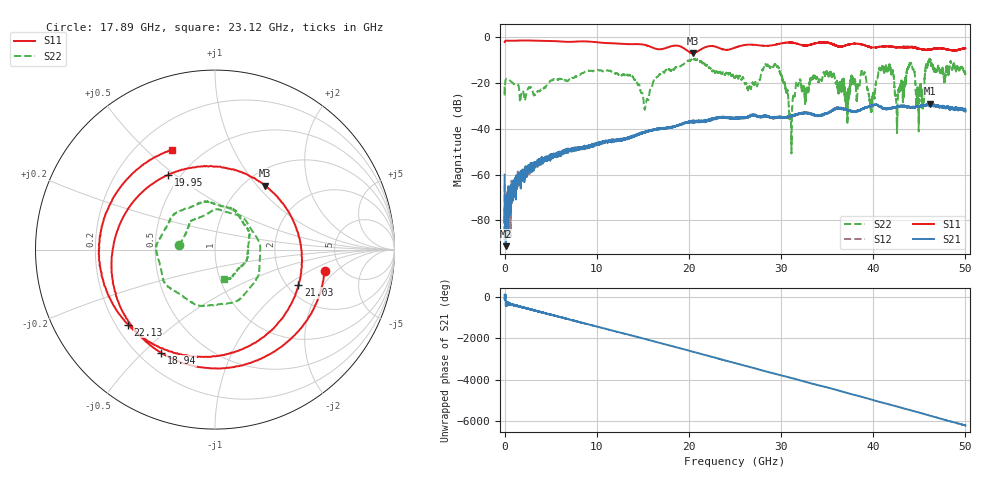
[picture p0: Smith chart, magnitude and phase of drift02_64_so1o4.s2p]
!Created with skrf (http://scikit-rf.org).
# Hz S RI R 50.0
!freq ReS11 ImS11 ReS21 ImS21 ReS12 ImS12 ReS22 ImS22
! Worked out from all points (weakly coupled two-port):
!   10001 points, 300 kHz to 50 GHz, reference 50 ohm
!   highest |S21| = -29.03 dB at 46.19 GHz (marker M1); lowest = -91.4 dB at 125.3 MHz (marker M2)
!   lowest |S11| = -6.9 dB at 20.45 GHz (marker M3), VSWR 2.64, Z = 61.1 + j54.8 ohm
!   |S11| at or under -10 dB: nowhere
!   |S22| runs from -50.8 to -9.2 dB; largest |S21 - S12| = 0.0033
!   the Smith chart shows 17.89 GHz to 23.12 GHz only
!   S11 on the Smith chart (normalised r, x): 17.89 GHz: 3.71, -1.42; 18.94 GHz: 0.29, -0.57; 19.95 GHz: 0.43, +0.47; 21.03 GHz: 2.29, -1.21; 22.13 GHz: 0.25, -0.35; 23.12 GHz: 0.34, +0.60
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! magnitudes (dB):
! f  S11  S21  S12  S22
! 300 kHz  -2.1  -60.0  -64.4  -21.5
! 125.3 MHz  -1.5  -91.4  -75.1  -18.4
! 8.335 GHz  -1.7  -48.4  -48.5  -15.7
! 15.33 GHz  -3.4  -41.2  -41.2  -29.1
! 16.67 GHz  -5.2  -40.2  -40.1  -17.0
! 17.89 GHz  -4.1  -39.4  -39.4  -13.9
! 18.94 GHz  -3.8  -38.2  -38.3  -12.5
! 19.95 GHz  -6.2  -37.2  -37.1  -10.1
! 20.45 GHz  -6.9  -36.8  -36.8  -10.0
! 21.03 GHz  -5.9  -36.7  -36.6  -9.9
! 22.13 GHz  -3.9  -36.3  -36.2  -13.1
! 23.12 GHz  -4.4  -35.2  -35.2  -15.2
! 25 GHz  -4.5  -35.4  -35.5  -17.5
! 29.51 GHz  -3.1  -35.0  -35.2  -12.6
! 31.03 GHz  -2.3  -34.7  -34.6  -34.3
! 33.34 GHz  -3.0  -33.6  -33.6  -18.3
! 39.76 GHz  -4.3  -30.0  -29.9  -30.0
! 41.67 GHz  -4.0  -31.0  -31.1  -13.0
! 44.18 GHz  -4.1  -30.6  -30.8  -12.2
! 44.85 GHz  -4.8  -30.3  -30.2  -24.4
! 46.19 GHz  -5.3  -29.0  -29.2  -10.1
! 50 GHz  -4.8  -31.6  -31.7  -16.0
